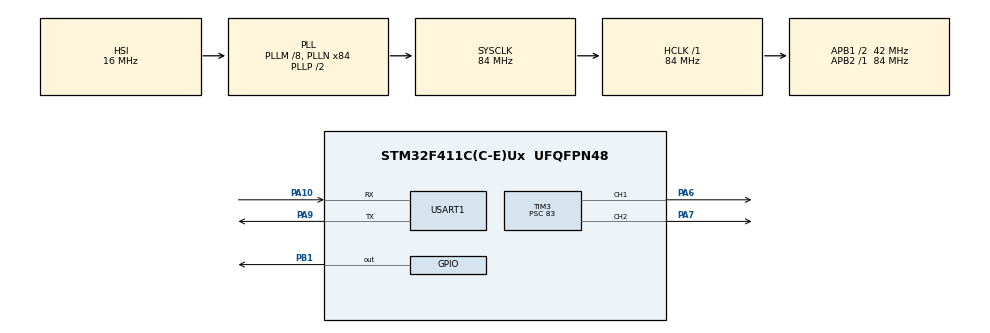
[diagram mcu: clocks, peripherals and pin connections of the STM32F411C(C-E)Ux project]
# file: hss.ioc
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Mcu.Family=STM32F4
Mcu.Name=STM32F411C(C-E)Ux
Mcu.Package=UFQFPN48
NVIC.PriorityGroup=NVIC_PRIORITYGROUP_4
NVIC.USART1_IRQn=true\:0\:0\:false\:false\:true\:true\:true\:true
PA10.Mode=Asynchronous
PA10.Signal=USART1_RX
PA13.Mode=Serial_Wire
PA13.Signal=SYS_JTMS-SWDIO
PA14.Mode=Serial_Wire
PA14.Signal=SYS_JTCK-SWCLK
PA6.Signal=S_TIM3_CH1
PA7.Signal=S_TIM3_CH2
PA9.Mode=Asynchronous
PA9.Signal=USART1_TX
PB1.Signal=GPIO_Output
ProjectManager.HeapSize=0x200
ProjectManager.StackSize=0x400
ProjectManager.TargetToolchain=STM32CubeIDE
RCC.48MHZClocksFreq_Value=42000000
RCC.AHBFreq_Value=84000000
RCC.APB1CLKDivider=RCC_HCLK_DIV2
RCC.APB1Freq_Value=42000000
RCC.APB1TimFreq_Value=84000000
RCC.APB2Freq_Value=84000000
RCC.APB2TimFreq_Value=84000000
RCC.CortexFreq_Value=84000000
RCC.HCLKFreq_Value=84000000
RCC.HSE_VALUE=25000000
RCC.HSI_VALUE=16000000
RCC.LSE_VALUE=32768
RCC.PLLM=8
RCC.PLLN=84
RCC.SYSCLKFreq_VALUE=84000000
RCC.SYSCLKSource=RCC_SYSCLKSOURCE_PLLCLK
RCC.VCOOutputFreq_Value=168000000
SH.S_TIM3_CH1.0=TIM3_CH1,PWM Generation1 CH1
SH.S_TIM3_CH2.0=TIM3_CH2,PWM Generation2 CH2
TIM3.Channel-PWM\ Generation1\ CH1=TIM_CHANNEL_1
TIM3.Channel-PWM\ Generation2\ CH2=TIM_CHANNEL_2
TIM3.Period=19999
TIM3.Prescaler=83
TIM3.Pulse-PWM\ Generation1\ CH1=1500
USART1.VirtualMode=VM_ASYNC
VP_TIM3_VS_ClockSourceINT.Mode=Internal
board=custom

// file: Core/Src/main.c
/* USER CODE BEGIN Header */
/**
  ******************************************************************************
  * @file           : main.c
  * @brief          : Main program body — atış kontrol (hss)
  ******************************************************************************
  */
/* USER CODE END Header */
#include "main.h"
#include "tim.h"
#include "usart.h"
#include "gpio.h"

/* USER CODE BEGIN Includes */
#include "protocol.h"
#include "servo.h"
#include "trigger.h"
#include <string.h>
/* USER CODE END Includes */

/* USER CODE BEGIN PD */
#define HEARTBEAT_TIMEOUT_MS  200u
#define TELEM_PERIOD_MS        50u
#define RX_RING_SIZE           64u
/* USER CODE END PD */

/* USER CODE BEGIN PV */
static volatile uint8_t  s_rx_ring[RX_RING_SIZE];
static volatile uint16_t s_rx_head = 0;
static volatile uint16_t s_rx_tail = 0;
uint8_t s_rx_byte = 0;

static uint8_t  s_frame_buf[PROTO_FRAME_LEN];
static uint8_t  s_frame_idx = 0;

static volatile uint32_t s_ms = 0;
static uint32_t s_last_cmd_ms = 0;
static uint32_t s_last_telem_ms = 0;

static bool     s_failsafe = true;
static bool     s_armed    = false;
static bool     s_enabled  = false;
static uint8_t  s_stage    = 0;
static bool     s_fire_edge_armed = false;
/* USER CODE END PV */

void SystemClock_Config(void);
/* USER CODE BEGIN PFP */
static void rx_ring_push(uint8_t b);
static bool rx_ring_pop(uint8_t *b);
static void enter_failsafe(void);
static void send_telemetry(bool fired_event);
static void handle_command(const ProtoCommand *cmd);
static void poll_uart_frames(void);
/* USER CODE END PFP */

/* USER CODE BEGIN 0 */
static void rx_ring_push(uint8_t b)
{
  uint16_t next = (uint16_t)((s_rx_head + 1u) % RX_RING_SIZE);
  if (next == s_rx_tail) {
    return;
  }
  s_rx_ring[s_rx_head] = b;
  s_rx_head = next;
}

static bool rx_ring_pop(uint8_t *b)
{
  if (s_rx_head == s_rx_tail) {
    return false;
  }
  *b = s_rx_ring[s_rx_tail];
  s_rx_tail = (uint16_t)((s_rx_tail + 1u) % RX_RING_SIZE);
  return true;
}

static void enter_failsafe(void)
{
  s_failsafe = true;
  s_armed    = false;
  Trigger_Abort();
  Servo_SetEnabled(false);
  Servo_Hold();
}

static void send_telemetry(bool fired_event)
{
  ProtoTelemetry tel;
  tel.pan_cdeg  = Servo_GetPanCdeg();
  tel.tilt_cdeg = Servo_GetTiltCdeg();
  tel.status    = 0;

  if (fired_event) {
    tel.status |= STATUS_FIRED;
  }
  if (s_armed) {
    tel.status |= STATUS_ARMED;
  }
  if (s_failsafe) {
    tel.status |= STATUS_FAILSAFE;
  }
  if (s_enabled && !s_failsafe) {
    tel.status |= STATUS_ENABLED;
  }
  if (Trigger_IsBusy()) {
    tel.status |= STATUS_BUSY;
  }
  if (Servo_WasLimited()) {
    tel.status |= STATUS_ANGLE_LIM;
  }

  uint8_t frame[PROTO_FRAME_LEN];
  Proto_BuildUplink(&tel, frame);
  HAL_UART_Transmit(&huart1, frame, PROTO_FRAME_LEN, 20);
}

static void handle_command(const ProtoCommand *cmd)
{
  s_last_cmd_ms = s_ms;
  s_stage = cmd->stage;

  if (cmd->flags & FLAG_SAFE) {
    enter_failsafe();
    return;
  }

  s_failsafe = false;

  if (cmd->flags & FLAG_HOME) {
    Servo_Home();
  }

  s_enabled = (cmd->flags & FLAG_ENABLE) != 0;
  Servo_SetEnabled(s_enabled && !s_failsafe);

  if (s_enabled) {
    Servo_SetAnglesCdeg(cmd->pan_cdeg, cmd->tilt_cdeg);
  }

  s_armed = (cmd->flags & FLAG_ARM) != 0;

  const bool fire_req = (cmd->flags & FLAG_FIRE) != 0;
  if (fire_req && !s_fire_edge_armed) {
    s_fire_edge_armed = true;
    const bool ok =
        s_armed &&
        s_enabled &&
        !s_failsafe &&
        !Servo_WasLimited() &&
        !Trigger_IsBusy();

    if (ok) {
      Trigger_RequestFire();
      send_telemetry(true);
    }
  }
  if (!fire_req) {
    s_fire_edge_armed = false;
  }
}

static void poll_uart_frames(void)
{
  uint8_t b;
  while (rx_ring_pop(&b)) {
    if (s_frame_idx == 0) {
      if (b != PROTO_SYNC_DOWN) {
        continue;
      }
      s_frame_buf[0] = b;
      s_frame_idx = 1;
      continue;
    }

    s_frame_buf[s_frame_idx++] = b;
    if (s_frame_idx < PROTO_FRAME_LEN) {
      continue;
    }

    s_frame_idx = 0;
    ProtoCommand cmd;
    if (Proto_ParseDownlink(s_frame_buf, &cmd)) {
      handle_command(&cmd);
    }
  }
}

void HAL_UART_RxCpltCallback(UART_HandleTypeDef *huart)
{
  if (huart->Instance == USART1) {
    rx_ring_push(s_rx_byte);
    HAL_UART_Receive_IT(&huart1, &s_rx_byte, 1);
  }
}

void HAL_SYSTICK_Callback(void)
{
  s_ms++;
  Trigger_Tick1ms();
}
/* USER CODE END 0 */

int main(void)
{

  /* MCU Configuration--------------------------------------------------------*/

  /* Reset of all peripherals, Initializes the Flash interface and the Systick. */
  HAL_Init();

  /* Configure the system clock */
  SystemClock_Config();

  /* Initialize all configured peripherals */
  MX_GPIO_Init();
  MX_TIM3_Init();
  MX_USART1_UART_Init();
  /* USER CODE BEGIN 2 */
  Trigger_Init();
  Servo_Init();
  enter_failsafe();
  HAL_UART_Receive_IT(&huart1, &s_rx_byte, 1);
  /* USER CODE END 2 */

  /* Infinite loop */
  while (1)
  {

    /* USER CODE BEGIN 3 */
    poll_uart_frames();

    if (!s_failsafe && (s_ms - s_last_cmd_ms) > HEARTBEAT_TIMEOUT_MS) {
      enter_failsafe();
    }

    if ((s_ms - s_last_telem_ms) >= TELEM_PERIOD_MS) {
      s_last_telem_ms = s_ms;
      const bool fired = Trigger_ConsumeFiredFlag();
      send_telemetry(fired);
    }
  }
  /* USER CODE END 3 */
}

void SystemClock_Config(void)
{
  RCC_OscInitTypeDef RCC_OscInitStruct = {0};
  RCC_ClkInitTypeDef RCC_ClkInitStruct = {0};

  /** Configure the main internal regulator output voltage
  */
  __HAL_RCC_PWR_CLK_ENABLE();
  __HAL_PWR_VOLTAGESCALING_CONFIG(PWR_REGULATOR_VOLTAGE_SCALE1);

  /** Initializes the RCC Oscillators according to the specified parameters
  * in the RCC_OscInitTypeDef structure.
  */
  RCC_OscInitStruct.OscillatorType = RCC_OSCILLATORTYPE_HSI;
  RCC_OscInitStruct.HSIState = RCC_HSI_ON;
  RCC_OscInitStruct.HSICalibrationValue = RCC_HSICALIBRATION_DEFAULT;
  RCC_OscInitStruct.PLL.PLLState = RCC_PLL_ON;
  RCC_OscInitStruct.PLL.PLLSource = RCC_PLLSOURCE_HSI;
  RCC_OscInitStruct.PLL.PLLM = 8;
  RCC_OscInitStruct.PLL.PLLN = 84;
  RCC_OscInitStruct.PLL.PLLP = RCC_PLLP_DIV2;
  RCC_OscInitStruct.PLL.PLLQ = 4;
  if (HAL_RCC_OscConfig(&RCC_OscInitStruct) != HAL_OK)
  {
    Error_Handler();
  }

  /** Initializes the CPU, AHB and APB buses clocks
  */
  RCC_ClkInitStruct.ClockType = RCC_CLOCKTYPE_HCLK|RCC_CLOCKTYPE_SYSCLK
                              |RCC_CLOCKTYPE_PCLK1|RCC_CLOCKTYPE_PCLK2;
  RCC_ClkInitStruct.SYSCLKSource = RCC_SYSCLKSOURCE_PLLCLK;
  RCC_ClkInitStruct.AHBCLKDivider = RCC_SYSCLK_DIV1;
  RCC_ClkInitStruct.APB1CLKDivider = RCC_HCLK_DIV2;
  RCC_ClkInitStruct.APB2CLKDivider = RCC_HCLK_DIV1;

  if (HAL_RCC_ClockConfig(&RCC_ClkInitStruct, FLASH_LATENCY_2) != HAL_OK)
  {
    Error_Handler();
  }
}

void Error_Handler(void)
{
  __disable_irq();
  while (1)
  {
  }
}
#ifdef USE_FULL_ASSERT
void assert_failed(uint8_t *file, uint32_t line)
{
  /* USER CODE BEGIN 6 */
  (void)file;
  (void)line;
  /* USER CODE END 6 */
}
#endif /* USE_FULL_ASSERT */
